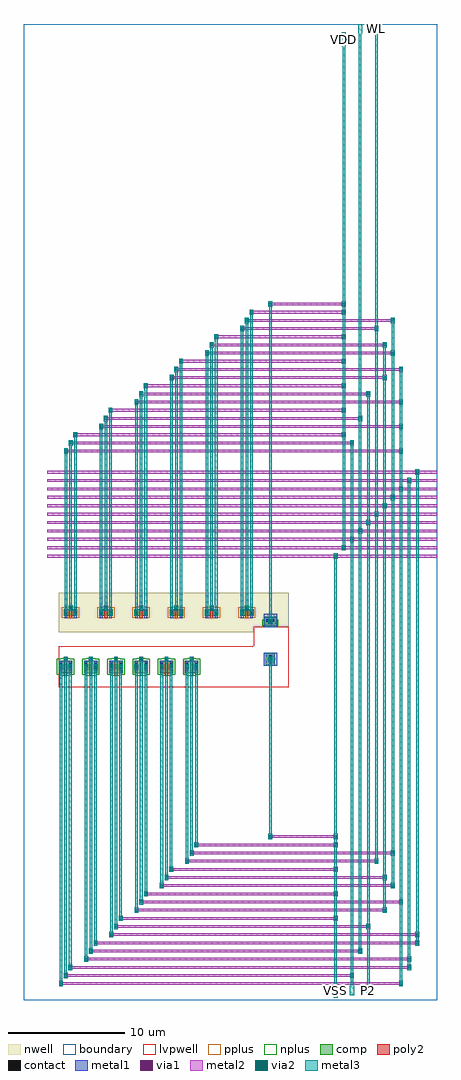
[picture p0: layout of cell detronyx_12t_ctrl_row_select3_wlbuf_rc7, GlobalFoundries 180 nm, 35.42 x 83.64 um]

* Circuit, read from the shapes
.subckt detronyx_12t_ctrl_row_select3_wlbuf_rc7 P0 P1 P2 VDD VSS WL
XM1 n1 P0 n2 VSS nfet_03v3 w=1.055u l=0.28u
XM2 n3 P1 n1 VSS nfet_03v3 w=1.055u l=0.28u
XM3 VSS P2 n3 VSS nfet_03v3 w=1.055u l=0.28u
XM4 VSS n2 n4 VSS nfet_03v3 w=1.055u l=0.28u
XM5 VSS n4 n5 VSS nfet_03v3 w=1.055u l=0.28u
XM6 VSS n5 WL VSS nfet_03v3 w=1.055u l=0.28u
XM7 VDD P0 n2 VDD pfet_03v3 w=0.56u l=0.2779u
XM8 VDD P1 n2 VDD pfet_03v3 w=0.56u l=0.2779u
XM9 VDD P2 n2 VDD pfet_03v3 w=0.56u l=0.2779u
XM10 VDD n2 n4 VDD pfet_03v3 w=0.56u l=0.2779u
XM11 VDD n4 n5 VDD pfet_03v3 w=0.56u l=0.2779u
XM12 VDD n5 WL VDD pfet_03v3 w=0.56u l=0.2779u
.ends

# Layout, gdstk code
import gdstk
lib = gdstk.Library(unit=1e-6, precision=1e-09)
def R(c, l, rs):  # rectangles x0, y0, x1, y1
    for r in rs: c.add(gdstk.rectangle(r[:2], r[2:], *l))
def A(c, l, x, y, w, h, nx, ny, dx, dy):  # array of equal rectangles
    R(c, l, [(x+i*dx, y+j*dy, x+i*dx+w, y+j*dy+h) for i in range(nx) for j in range(ny)])
boundary = (0, 0)
nwell = (21, 0)
comp = (22, 0)
poly2 = (30, 0)
pplus = (31, 0)
nplus = (32, 0)
contact = (33, 0)
metal1 = (34, 0)
via1 = (35, 0)
metal2 = (36, 0)
via2 = (38, 0)
metal3 = (42, 0)
lvpwell = (204, 0)

detronyx_12t_ctrl_row_se = lib.new_cell('detronyx_12t_ctrl_row_select3_wlbuf_rc7')
R(detronyx_12t_ctrl_row_se, boundary, [(0,0,35.42,83.635)])
R(detronyx_12t_ctrl_row_se, nwell, [(3,31.495,19.72,32), (3,32,22.72,34.915)])
A(detronyx_12t_ctrl_row_se, comp, 3, 28.02, 1.16, 1.055, 6, 1, 2.16, 0)
A(detronyx_12t_ctrl_row_se, comp, 3.43, 32.925, 1.16, 0.555, 6, 1, 3.02, 0)
R(detronyx_12t_ctrl_row_se, comp, [(20.745,28.675,21.495,29.725), (20.595,32.215,21.645,32.815), (3.43,33.48,3.895,33.485), (4.125,33.48,4.59,33.485), (6.45,33.48,6.915,33.485), (7.145,33.48,7.61,33.485), (9.47,33.48,9.935,33.485), (10.165,33.48,10.63,33.485), (12.49,33.48,12.955,33.485), (13.185,33.48,13.65,33.485), (15.51,33.48,15.975,33.485), (16.205,33.48,16.67,33.485), (18.53,33.48,18.995,33.485), (19.225,33.48,19.69,33.485)])
A(detronyx_12t_ctrl_row_se, poly2, 3.44, 27.8, 0.28, 1.55, 6, 1, 2.16, 0)
A(detronyx_12t_ctrl_row_se, poly2, 3.87, 32.705, 0.28, 1.04, 6, 1, 3.02, 0)
A(detronyx_12t_ctrl_row_se, pplus, 3.64, 32.695, 0.74, 0.07, 6, 2, 3.02, 0.95)
A(detronyx_12t_ctrl_row_se, pplus, 3.27, 32.765, 1.48, 0.88, 6, 1, 3.02, 0)
R(detronyx_12t_ctrl_row_se, pplus, [(20.725,28.655,21.515,29.745)])
A(detronyx_12t_ctrl_row_se, nplus, 3.21, 27.79, 0.74, 0.07, 6, 2, 2.16, 1.445)
A(detronyx_12t_ctrl_row_se, nplus, 2.84, 27.86, 1.48, 1.375, 6, 1, 2.16, 0)
R(detronyx_12t_ctrl_row_se, nplus, [(20.435,32.055,21.805,32.59), (20.575,32.59,21.665,32.835)])
A(detronyx_12t_ctrl_row_se, contact, 3.47, 29.09, 0.22, 0.22, 6, 1, 2.16, 0)
A(detronyx_12t_ctrl_row_se, contact, 3.9, 33.485, 0.22, 0.22, 6, 1, 3.02, 0)
R(detronyx_12t_ctrl_row_se, contact, [(3.07,28.2,3.29,28.42), (3.87,28.2,4.09,28.42), (5.23,28.2,5.45,28.42), (6.03,28.2,6.25,28.42), (7.39,28.2,7.61,28.42), (8.19,28.2,8.41,28.42), (9.55,28.2,9.77,28.42), (10.35,28.2,10.57,28.42), (11.71,28.2,11.93,28.42), (12.51,28.2,12.73,28.42), (13.87,28.2,14.09,28.42), (14.67,28.2,14.89,28.42), (3.07,28.67,3.29,28.89), (3.87,28.67,4.09,28.89), (5.23,28.67,5.45,28.89), (6.03,28.67,6.25,28.89), (7.39,28.67,7.61,28.89), (8.19,28.67,8.41,28.89), (9.55,28.67,9.77,28.89), (10.35,28.67,10.57,28.89), (11.71,28.67,11.93,28.89), (12.51,28.67,12.73,28.89), (13.87,28.67,14.09,28.89), (14.67,28.67,14.89,28.89), (21.01,28.855,21.23,29.075), (21.01,29.325,21.23,29.545), (20.775,32.405,20.995,32.625), (21.245,32.405,21.465,32.625), (3.5,33.095,3.72,33.315), (4.3,33.095,4.52,33.315), (6.52,33.095,6.74,33.315), (7.32,33.095,7.54,33.315), (9.54,33.095,9.76,33.315), (10.34,33.095,10.56,33.315), (12.56,33.095,12.78,33.315), (13.36,33.095,13.58,33.315), (15.58,33.095,15.8,33.315), (16.38,33.095,16.6,33.315), (18.6,33.095,18.82,33.315), (19.4,33.095,19.62,33.315)])
A(detronyx_12t_ctrl_row_se, metal1, 3.42, 28.97, 0.325, 0.46, 6, 1, 2.16, 0)
A(detronyx_12t_ctrl_row_se, metal1, 3.85, 33.365, 0.325, 0.46, 6, 1, 3.02, 0)
R(detronyx_12t_ctrl_row_se, metal1, [(3.065,28.02,3.295,28.315), (3.865,28.02,4.095,28.315), (5.225,28.02,5.455,28.315), (6.025,28.02,6.255,28.315), (7.385,28.02,7.615,28.315), (8.185,28.02,8.415,28.315), (9.545,28.02,9.775,28.315), (10.345,28.02,10.575,28.315), (11.705,28.02,11.935,28.315), (12.505,28.02,12.735,28.315), (13.865,28.02,14.095,28.315), (14.665,28.02,14.895,28.315), (3.02,28.315,3.345,28.775), (3.82,28.315,4.145,28.775), (5.18,28.315,5.505,28.775), (5.98,28.315,6.305,28.775), (7.34,28.315,7.665,28.775), (8.14,28.315,8.465,28.775), (9.5,28.315,9.825,28.775), (10.3,28.315,10.625,28.775), (11.66,28.315,11.985,28.775), (12.46,28.315,12.785,28.775), (13.82,28.315,14.145,28.775), (14.62,28.315,14.945,28.775), (20.545,28.625,21.695,29.775), (3.065,28.775,3.295,29.075), (3.865,28.775,4.095,29.075), (5.225,28.775,5.455,29.075), (6.025,28.775,6.255,29.075), (7.385,28.775,7.615,29.075), (8.185,28.775,8.415,29.075), (9.545,28.775,9.775,29.075), (10.345,28.775,10.575,29.075), (11.705,28.775,11.935,29.075), (12.505,28.775,12.735,29.075), (13.865,28.775,14.095,29.075), (14.665,28.775,14.895,29.075), (20.545,31.94,21.695,33.09), (3.495,32.73,3.725,32.975), (4.295,32.73,4.525,32.975), (6.515,32.73,6.745,32.975), (7.315,32.73,7.545,32.975), (9.535,32.73,9.765,32.975), (10.335,32.73,10.565,32.975), (12.555,32.73,12.785,32.975), (13.355,32.73,13.585,32.975), (15.575,32.73,15.805,32.975), (16.375,32.73,16.605,32.975), (18.595,32.73,18.825,32.975), (19.395,32.73,19.625,32.975), (3.45,32.975,3.775,33.435), (4.25,32.975,4.575,33.435), (6.47,32.975,6.795,33.435), (7.27,32.975,7.595,33.435), (9.49,32.975,9.815,33.435), (10.29,32.975,10.615,33.435), (12.51,32.975,12.835,33.435), (13.31,32.975,13.635,33.435), (15.53,32.975,15.855,33.435), (16.33,32.975,16.655,33.435), (18.55,32.975,18.875,33.435), (19.35,32.975,19.675,33.435), (3.495,33.435,3.725,33.68), (4.295,33.435,4.525,33.68), (6.515,33.435,6.745,33.68), (7.315,33.435,7.545,33.68), (9.535,33.435,9.765,33.68), (10.335,33.435,10.565,33.68), (12.555,33.435,12.785,33.68), (13.355,33.435,13.585,33.68), (15.575,33.435,15.805,33.68), (16.375,33.435,16.605,33.68), (18.595,33.435,18.825,33.68), (19.395,33.435,19.625,33.68)])
A(detronyx_12t_ctrl_row_se, via1, 3.45, 29.07, 0.26, 0.26, 6, 1, 2.16, 0)
A(detronyx_12t_ctrl_row_se, via1, 3.88, 33.465, 0.26, 0.26, 6, 1, 3.02, 0)
R(detronyx_12t_ctrl_row_se, via1, [(3.05,28.415,3.31,28.675), (3.85,28.415,4.11,28.675), (5.21,28.415,5.47,28.675), (6.01,28.415,6.27,28.675), (7.37,28.415,7.63,28.675), (8.17,28.415,8.43,28.675), (9.53,28.415,9.79,28.675), (10.33,28.415,10.59,28.675), (11.69,28.415,11.95,28.675), (12.49,28.415,12.75,28.675), (13.85,28.415,14.11,28.675), (14.65,28.415,14.91,28.675), (20.99,29.07,21.25,29.33), (20.99,32.385,21.25,32.645), (3.48,33.075,3.74,33.335), (4.28,33.075,4.54,33.335), (6.5,33.075,6.76,33.335), (7.3,33.075,7.56,33.335), (9.52,33.075,9.78,33.335), (10.32,33.075,10.58,33.335), (12.54,33.075,12.8,33.335), (13.34,33.075,13.6,33.335), (15.56,33.075,15.82,33.335), (16.36,33.075,16.62,33.335), (18.58,33.075,18.84,33.335), (19.38,33.075,19.64,33.335)])
A(detronyx_12t_ctrl_row_se, metal2, 3.42, 28.97, 0.325, 0.46, 6, 1, 2.16, 0)
A(detronyx_12t_ctrl_row_se, metal2, 3.85, 33.365, 0.325, 0.46, 6, 1, 3.02, 0)
A(detronyx_12t_ctrl_row_se, metal2, 2, 37.915, 33.42, 0.24, 1, 11, 0, 0.72)
R(detronyx_12t_ctrl_row_se, metal2, [(3.02,1.17,3.345,1.29), (32.16,1.17,32.485,1.29), (3.02,1.29,32.485,1.51), (3.02,1.51,3.345,1.63), (32.16,1.51,32.485,1.63), (3.42,1.87,3.745,1.99), (27.96,1.87,28.285,1.99), (3.42,1.99,28.285,2.21), (3.42,2.21,3.745,2.33), (27.96,2.21,28.285,2.33), (3.82,2.57,4.145,2.69), (32.86,2.57,33.185,2.69), (3.82,2.69,33.185,2.91), (3.82,2.91,4.145,3.03), (32.86,2.91,33.185,3.03), (5.18,3.27,5.505,3.39), (32.86,3.27,33.185,3.39), (5.18,3.39,33.185,3.61), (5.18,3.61,5.505,3.73), (32.86,3.61,33.185,3.73), (5.58,3.97,5.905,4.09), (28.66,3.97,28.985,4.09), (5.58,4.09,28.985,4.31), (5.58,4.31,5.905,4.43), (28.66,4.31,28.985,4.43), (5.98,4.67,6.305,4.79), (33.56,4.67,33.885,4.79), (5.98,4.79,33.885,5.01), (5.98,5.01,6.305,5.13), (33.56,5.01,33.885,5.13), (7.34,5.37,7.665,5.49), (33.56,5.37,33.885,5.49), (7.34,5.49,33.885,5.71), (7.34,5.71,7.665,5.83), (33.56,5.71,33.885,5.83), (7.74,6.07,8.065,6.19), (29.36,6.07,29.685,6.19), (7.74,6.19,29.685,6.41), (7.74,6.41,8.065,6.53), (29.36,6.41,29.685,6.53), (8.14,6.77,8.465,6.89), (26.56,6.77,26.885,6.89), (8.14,6.89,26.885,7.11), (8.14,7.11,8.465,7.23), (26.56,7.11,26.885,7.23), (9.5,7.47,9.825,7.59), (30.76,7.47,31.085,7.59), (9.5,7.59,31.085,7.81), (9.5,7.81,9.825,7.93), (30.76,7.81,31.085,7.93), (9.9,8.17,10.225,8.29), (32.16,8.17,32.485,8.29), (9.9,8.29,32.485,8.51), (9.9,8.51,10.225,8.63), (32.16,8.51,32.485,8.63), (10.3,8.87,10.625,8.99), (26.56,8.87,26.885,8.99), (10.3,8.99,26.885,9.21), (10.3,9.21,10.625,9.33), (26.56,9.21,26.885,9.33), (11.66,9.57,11.985,9.69), (31.46,9.57,31.785,9.69), (11.66,9.69,31.785,9.91), (11.66,9.91,11.985,10.03), (31.46,9.91,31.785,10.03), (12.06,10.27,12.385,10.39), (30.76,10.27,31.085,10.39), (12.06,10.39,31.085,10.61), (12.06,10.61,12.385,10.73), (30.76,10.61,31.085,10.73), (12.46,10.97,12.785,11.09), (26.56,10.97,26.885,11.09), (12.46,11.09,26.885,11.31), (12.46,11.31,12.785,11.43), (26.56,11.31,26.885,11.43), (13.82,11.67,14.145,11.79), (30.06,11.67,30.385,11.79), (13.82,11.79,30.385,12.01), (13.82,12.01,14.145,12.13), (30.06,12.01,30.385,12.13), (14.22,12.37,14.545,12.49), (31.46,12.37,31.785,12.49), (14.22,12.49,31.785,12.71), (14.22,12.71,14.545,12.83), (31.46,12.71,31.785,12.83), (14.62,13.07,14.945,13.19), (26.56,13.07,26.885,13.19), (14.62,13.19,26.885,13.41), (14.62,13.41,14.945,13.53), (26.56,13.41,26.885,13.53), (20.96,13.77,21.285,13.89), (26.56,13.77,26.885,13.89), (20.96,13.89,26.885,14.11), (20.96,14.11,21.285,14.23), (26.56,14.11,26.885,14.23), (3.02,28.315,3.345,28.775), (3.82,28.315,4.145,28.775), (5.18,28.315,5.505,28.775), (5.98,28.315,6.305,28.775), (7.34,28.315,7.665,28.775), (8.14,28.315,8.465,28.775), (9.5,28.315,9.825,28.775), (10.3,28.315,10.625,28.775), (11.66,28.315,11.985,28.775), (12.46,28.315,12.785,28.775), (13.82,28.315,14.145,28.775), (14.62,28.315,14.945,28.775), (20.96,28.97,21.285,29.43), (20.96,32.285,21.285,32.745), (3.45,32.975,3.775,33.435), (4.25,32.975,4.575,33.435), (6.47,32.975,6.795,33.435), (7.27,32.975,7.595,33.435), (9.49,32.975,9.815,33.435), (10.29,32.975,10.615,33.435), (12.51,32.975,12.835,33.435), (13.31,32.975,13.635,33.435), (15.53,32.975,15.855,33.435), (16.33,32.975,16.655,33.435), (18.55,32.975,18.875,33.435), (19.35,32.975,19.675,33.435), (26.56,37.805,26.885,37.915), (26.56,38.155,26.885,38.265), (27.26,38.525,27.585,38.635), (27.26,38.875,27.585,38.985), (27.96,39.245,28.285,39.355), (27.96,39.595,28.285,39.705), (28.66,39.965,28.985,40.075), (28.66,40.315,28.985,40.425), (29.36,40.685,29.685,40.795), (29.36,41.035,29.685,41.145), (30.06,41.405,30.385,41.515), (30.06,41.755,30.385,41.865), (30.76,42.125,31.085,42.235), (30.76,42.475,31.085,42.585), (31.46,42.845,31.785,42.955), (31.46,43.195,31.785,43.305), (32.16,43.565,32.485,43.675), (32.16,43.915,32.485,44.025), (32.86,44.285,33.185,44.395), (32.86,44.635,33.185,44.745), (33.56,45.005,33.885,45.115), (33.56,45.355,33.885,45.465), (3.45,46.805,3.775,46.925), (32.16,46.805,32.485,46.925), (3.45,46.925,32.485,47.145), (3.45,47.145,3.775,47.265), (32.16,47.145,32.485,47.265), (3.85,47.505,4.175,47.625), (27.96,47.505,28.285,47.625), (3.85,47.625,28.285,47.845), (3.85,47.845,4.175,47.965), (27.96,47.845,28.285,47.965), (4.25,48.205,4.575,48.325), (27.26,48.205,27.585,48.325), (4.25,48.325,27.585,48.545), (4.25,48.545,4.575,48.665), (27.26,48.545,27.585,48.665), (6.47,48.905,6.795,49.025), (32.16,48.905,32.485,49.025), (6.47,49.025,32.485,49.245), (6.47,49.245,6.795,49.365), (32.16,49.245,32.485,49.365), (6.87,49.605,7.195,49.725), (28.66,49.605,28.985,49.725), (6.87,49.725,28.985,49.945), (6.87,49.945,7.195,50.065), (28.66,49.945,28.985,50.065), (7.27,50.305,7.595,50.425), (27.26,50.305,27.585,50.425), (7.27,50.425,27.585,50.645), (7.27,50.645,7.595,50.765), (27.26,50.645,27.585,50.765), (9.49,51.005,9.815,51.125), (32.16,51.005,32.485,51.125), (9.49,51.125,32.485,51.345), (9.49,51.345,9.815,51.465), (32.16,51.345,32.485,51.465), (9.89,51.705,10.215,51.825), (29.36,51.705,29.685,51.825), (9.89,51.825,29.685,52.045), (9.89,52.045,10.215,52.165), (29.36,52.045,29.685,52.165), (10.29,52.405,10.615,52.525), (27.26,52.405,27.585,52.525), (10.29,52.525,27.585,52.745), (10.29,52.745,10.615,52.865), (27.26,52.745,27.585,52.865), (12.51,53.105,12.835,53.225), (30.76,53.105,31.085,53.225), (12.51,53.225,31.085,53.445), (12.51,53.445,12.835,53.565), (30.76,53.445,31.085,53.565), (12.91,53.805,13.235,53.925), (32.16,53.805,32.485,53.925), (12.91,53.925,32.485,54.145), (12.91,54.145,13.235,54.265), (32.16,54.145,32.485,54.265), (13.31,54.505,13.635,54.625), (27.26,54.505,27.585,54.625), (13.31,54.625,27.585,54.845), (13.31,54.845,13.635,54.965), (27.26,54.845,27.585,54.965), (15.53,55.205,15.855,55.325), (31.46,55.205,31.785,55.325), (15.53,55.325,31.785,55.545), (15.53,55.545,15.855,55.665), (31.46,55.545,31.785,55.665), (15.93,55.905,16.255,56.025), (30.76,55.905,31.085,56.025), (15.93,56.025,31.085,56.245), (15.93,56.245,16.255,56.365), (30.76,56.245,31.085,56.365), (16.33,56.605,16.655,56.725), (27.26,56.605,27.585,56.725), (16.33,56.725,27.585,56.945), (16.33,56.945,16.655,57.065), (27.26,56.945,27.585,57.065), (18.55,57.305,18.875,57.425), (30.06,57.305,30.385,57.425), (18.55,57.425,30.385,57.645), (18.55,57.645,18.875,57.765), (30.06,57.645,30.385,57.765), (18.95,58.005,19.275,58.125), (31.46,58.005,31.785,58.125), (18.95,58.125,31.785,58.345), (18.95,58.345,19.275,58.465), (31.46,58.345,31.785,58.465), (19.35,58.705,19.675,58.825), (27.26,58.705,27.585,58.825), (19.35,58.825,27.585,59.045), (19.35,59.045,19.675,59.165), (27.26,59.045,27.585,59.165), (20.96,59.405,21.285,59.525), (27.26,59.405,27.585,59.525), (20.96,59.525,27.585,59.745), (20.96,59.745,21.285,59.865), (27.26,59.745,27.585,59.865)])
A(detronyx_12t_ctrl_row_se, via2, 26.59, 6.87, 0.26, 0.26, 1, 4, 0, 2.1)
A(detronyx_12t_ctrl_row_se, via2, 3.45, 29.07, 0.26, 0.26, 6, 1, 2.16, 0)
A(detronyx_12t_ctrl_row_se, via2, 3.88, 33.465, 0.26, 0.26, 6, 1, 3.02, 0)
A(detronyx_12t_ctrl_row_se, via2, 32.19, 46.905, 0.26, 0.26, 1, 3, 0, 2.1)
A(detronyx_12t_ctrl_row_se, via2, 27.29, 48.305, 0.26, 0.26, 1, 6, 0, 2.1)
R(detronyx_12t_ctrl_row_se, via2, [(3.05,1.27,3.31,1.53), (32.19,1.27,32.45,1.53), (3.45,1.97,3.71,2.23), (27.99,1.97,28.25,2.23), (3.85,2.67,4.11,2.93), (32.89,2.67,33.15,2.93), (5.21,3.37,5.47,3.63), (32.89,3.37,33.15,3.63), (5.61,4.07,5.87,4.33), (28.69,4.07,28.95,4.33), (6.01,4.77,6.27,5.03), (33.59,4.77,33.85,5.03), (7.37,5.47,7.63,5.73), (33.59,5.47,33.85,5.73), (7.77,6.17,8.03,6.43), (29.39,6.17,29.65,6.43), (8.17,6.87,8.43,7.13), (9.53,7.57,9.79,7.83), (30.79,7.57,31.05,7.83), (9.93,8.27,10.19,8.53), (32.19,8.27,32.45,8.53), (10.33,8.97,10.59,9.23), (11.69,9.67,11.95,9.93), (31.49,9.67,31.75,9.93), (12.09,10.37,12.35,10.63), (30.79,10.37,31.05,10.63), (12.49,11.07,12.75,11.33), (13.85,11.77,14.11,12.03), (30.09,11.77,30.35,12.03), (14.25,12.47,14.51,12.73), (31.49,12.47,31.75,12.73), (14.65,13.17,14.91,13.43), (20.99,13.87,21.25,14.13), (26.59,13.87,26.85,14.13), (3.05,28.415,3.31,28.675), (3.85,28.415,4.11,28.675), (5.21,28.415,5.47,28.675), (6.01,28.415,6.27,28.675), (7.37,28.415,7.63,28.675), (8.17,28.415,8.43,28.675), (9.53,28.415,9.79,28.675), (10.33,28.415,10.59,28.675), (11.69,28.415,11.95,28.675), (12.49,28.415,12.75,28.675), (13.85,28.415,14.11,28.675), (14.65,28.415,14.91,28.675), (20.99,29.07,21.25,29.33), (20.99,32.385,21.25,32.645), (3.48,33.075,3.74,33.335), (4.28,33.075,4.54,33.335), (6.5,33.075,6.76,33.335), (7.3,33.075,7.56,33.335), (9.52,33.075,9.78,33.335), (10.32,33.075,10.58,33.335), (12.54,33.075,12.8,33.335), (13.34,33.075,13.6,33.335), (15.56,33.075,15.82,33.335), (16.36,33.075,16.62,33.335), (18.58,33.075,18.84,33.335), (19.38,33.075,19.64,33.335), (26.59,37.905,26.85,38.165), (27.29,38.625,27.55,38.885), (27.99,39.345,28.25,39.605), (28.69,40.065,28.95,40.325), (29.39,40.785,29.65,41.045), (30.09,41.505,30.35,41.765), (30.79,42.225,31.05,42.485), (31.49,42.945,31.75,43.205), (32.19,43.665,32.45,43.925), (32.89,44.385,33.15,44.645), (33.59,45.105,33.85,45.365), (3.48,46.905,3.74,47.165), (3.88,47.605,4.14,47.865), (27.99,47.605,28.25,47.865), (4.28,48.305,4.54,48.565), (6.5,49.005,6.76,49.265), (6.9,49.705,7.16,49.965), (28.69,49.705,28.95,49.965), (7.3,50.405,7.56,50.665), (9.52,51.105,9.78,51.365), (9.92,51.805,10.18,52.065), (29.39,51.805,29.65,52.065), (10.32,52.505,10.58,52.765), (12.54,53.205,12.8,53.465), (30.79,53.205,31.05,53.465), (12.94,53.905,13.2,54.165), (32.19,53.905,32.45,54.165), (13.34,54.605,13.6,54.865), (15.56,55.305,15.82,55.565), (31.49,55.305,31.75,55.565), (15.96,56.005,16.22,56.265), (30.79,56.005,31.05,56.265), (16.36,56.705,16.62,56.965), (18.58,57.405,18.84,57.665), (30.09,57.405,30.35,57.665), (18.98,58.105,19.24,58.365), (31.49,58.105,31.75,58.365), (19.38,58.805,19.64,59.065), (20.99,59.505,21.25,59.765), (27.29,59.505,27.55,59.765)])
A(detronyx_12t_ctrl_row_se, metal3, 26.56, 6.77, 0.325, 0.46, 1, 4, 0, 2.1)
A(detronyx_12t_ctrl_row_se, metal3, 26.61, 7.23, 0.22, 1.64, 1, 3, 0, 2.1)
A(detronyx_12t_ctrl_row_se, metal3, 3.42, 28.97, 0.325, 0.46, 6, 1, 2.16, 0)
A(detronyx_12t_ctrl_row_se, metal3, 3.85, 33.365, 0.325, 0.46, 6, 1, 3.02, 0)
A(detronyx_12t_ctrl_row_se, metal3, 32.16, 46.805, 0.325, 0.46, 1, 3, 0, 2.1)
A(detronyx_12t_ctrl_row_se, metal3, 27.26, 48.205, 0.325, 0.46, 1, 6, 0, 2.1)
A(detronyx_12t_ctrl_row_se, metal3, 27.31, 48.665, 0.22, 1.64, 1, 5, 0, 2.1)
R(detronyx_12t_ctrl_row_se, metal3, [(26.54,0.2,26.9,1.4), (27.94,0.4,28.3,1.2), (29.34,0.4,29.7,1.2), (3.02,1.17,3.345,1.63), (32.16,1.17,32.485,1.63), (28.01,1.2,28.23,1.87), (29.41,1.2,29.63,6.07), (26.61,1.4,26.83,6.77), (3.07,1.63,3.29,28.315), (32.21,1.63,32.43,8.17), (3.42,1.87,3.745,2.33), (27.96,1.87,28.285,2.33), (3.47,2.33,3.69,28.97), (28.01,2.33,28.23,39.245), (3.82,2.57,4.145,3.03), (32.86,2.57,33.185,3.03), (3.87,3.03,4.09,28.315), (32.91,3.03,33.13,3.27), (5.18,3.27,5.505,3.73), (32.86,3.27,33.185,3.73), (5.23,3.73,5.45,28.315), (32.91,3.73,33.13,44.285), (5.58,3.97,5.905,4.43), (28.66,3.97,28.985,4.43), (5.63,4.43,5.85,28.97), (28.71,4.43,28.93,39.965), (5.98,4.67,6.305,5.13), (33.56,4.67,33.885,5.13), (6.03,5.13,6.25,28.315), (33.61,5.13,33.83,5.37), (7.34,5.37,7.665,5.83), (33.56,5.37,33.885,5.83), (7.39,5.83,7.61,28.315), (33.61,5.83,33.83,45.005), (7.74,6.07,8.065,6.53), (29.36,6.07,29.685,6.53), (7.79,6.53,8.01,28.97), (29.41,6.53,29.63,40.685), (8.14,6.77,8.465,7.23), (8.19,7.23,8.41,28.315), (9.5,7.47,9.825,7.93), (30.76,7.47,31.085,7.93), (9.55,7.93,9.77,28.315), (30.81,7.93,31.03,10.27), (9.9,8.17,10.225,8.63), (32.16,8.17,32.485,8.63), (9.95,8.63,10.17,28.97), (32.21,8.63,32.43,43.565), (10.3,8.87,10.625,9.33), (10.35,9.33,10.57,28.315), (11.66,9.57,11.985,10.03), (31.46,9.57,31.785,10.03), (11.71,10.03,11.93,28.315), (31.51,10.03,31.73,12.37), (12.06,10.27,12.385,10.73), (30.76,10.27,31.085,10.73), (12.11,10.73,12.33,28.97), (30.81,10.73,31.03,42.125), (12.46,10.97,12.785,11.43), (12.51,11.43,12.73,28.315), (13.82,11.67,14.145,12.13), (30.06,11.67,30.385,12.13), (13.87,12.13,14.09,28.315), (30.11,12.13,30.33,41.405), (14.22,12.37,14.545,12.83), (31.46,12.37,31.785,12.83), (14.27,12.83,14.49,28.97), (31.51,12.83,31.73,42.845), (14.62,13.07,14.945,13.53), (14.67,13.53,14.89,28.315), (26.61,13.53,26.83,13.77), (20.96,13.77,21.285,14.23), (26.56,13.77,26.885,14.23), (21.01,14.23,21.23,28.97), (26.61,14.23,26.83,37.805), (3.02,28.315,3.345,28.775), (3.82,28.315,4.145,28.775), (5.18,28.315,5.505,28.775), (5.98,28.315,6.305,28.775), (7.34,28.315,7.665,28.775), (8.14,28.315,8.465,28.775), (9.5,28.315,9.825,28.775), (10.3,28.315,10.625,28.775), (11.66,28.315,11.985,28.775), (12.46,28.315,12.785,28.775), (13.82,28.315,14.145,28.775), (14.62,28.315,14.945,28.775), (20.96,28.97,21.285,29.43), (20.96,32.285,21.285,32.745), (21.01,32.745,21.23,59.405), (3.45,32.975,3.775,33.435), (4.25,32.975,4.575,33.435), (6.47,32.975,6.795,33.435), (7.27,32.975,7.595,33.435), (9.49,32.975,9.815,33.435), (10.29,32.975,10.615,33.435), (12.51,32.975,12.835,33.435), (13.31,32.975,13.635,33.435), (15.53,32.975,15.855,33.435), (16.33,32.975,16.655,33.435), (18.55,32.975,18.875,33.435), (19.35,32.975,19.675,33.435), (3.5,33.435,3.72,46.805), (4.3,33.435,4.52,48.205), (6.52,33.435,6.74,48.905), (7.32,33.435,7.54,50.305), (9.54,33.435,9.76,51.005), (10.34,33.435,10.56,52.405), (12.56,33.435,12.78,53.105), (13.36,33.435,13.58,54.505), (15.58,33.435,15.8,55.205), (16.38,33.435,16.6,56.605), (18.6,33.435,18.82,57.305), (19.4,33.435,19.62,58.705), (3.9,33.825,4.12,47.505), (6.92,33.825,7.14,49.605), (9.94,33.825,10.16,51.705), (12.96,33.825,13.18,53.805), (15.98,33.825,16.2,55.905), (19,33.825,19.22,58.005), (26.56,37.805,26.885,38.265), (27.26,38.525,27.585,38.985), (27.31,38.985,27.53,48.205), (27.96,39.245,28.285,39.705), (28.01,39.705,28.23,47.505), (28.66,39.965,28.985,40.425), (28.71,40.425,28.93,49.605), (29.36,40.685,29.685,41.145), (29.41,41.145,29.63,51.705), (30.06,41.405,30.385,41.865), (30.11,41.865,30.33,57.305), (30.76,42.125,31.085,42.585), (30.81,42.585,31.03,53.105), (31.46,42.845,31.785,43.305), (31.51,43.305,31.73,55.205), (32.16,43.565,32.485,44.025), (32.21,44.025,32.43,46.805), (32.86,44.285,33.185,44.745), (33.56,45.005,33.885,45.465), (3.45,46.805,3.775,47.265), (32.21,47.265,32.43,48.905), (3.85,47.505,4.175,47.965), (27.96,47.505,28.285,47.965), (4.25,48.205,4.575,48.665), (6.47,48.905,6.795,49.365), (32.21,49.365,32.43,51.005), (6.87,49.605,7.195,50.065), (28.66,49.605,28.985,50.065), (28.71,50.065,28.93,82.835), (7.27,50.305,7.595,50.765), (9.49,51.005,9.815,51.465), (32.21,51.465,32.43,53.805), (9.89,51.705,10.215,52.165), (29.36,51.705,29.685,52.165), (10.29,52.405,10.615,52.865), (12.51,53.105,12.835,53.565), (30.76,53.105,31.085,53.565), (30.81,53.565,31.03,55.905), (12.91,53.805,13.235,54.265), (32.16,53.805,32.485,54.265), (13.31,54.505,13.635,54.965), (15.53,55.205,15.855,55.665), (31.46,55.205,31.785,55.665), (31.51,55.665,31.73,58.005), (15.93,55.905,16.255,56.365), (30.76,55.905,31.085,56.365), (16.33,56.605,16.655,57.065), (18.55,57.305,18.875,57.765), (30.06,57.305,30.385,57.765), (30.11,57.765,30.33,82.835), (18.95,58.005,19.275,58.465), (31.46,58.005,31.785,58.465), (19.35,58.705,19.675,59.165), (27.31,59.165,27.53,59.405), (20.96,59.405,21.285,59.865), (27.26,59.405,27.585,59.865), (27.31,59.865,27.53,81.735), (27.24,81.735,27.6,82.935), (28.64,82.835,29,83.635), (30.04,82.835,30.4,83.635)])
R(detronyx_12t_ctrl_row_se, lvpwell, [(3,26.8,22.72,30.295), (19.72,30.295,22.72,32)])
detronyx_12t_ctrl_row_se.add(gdstk.Label('VDD', (27.42,82.335), layer=42, texttype=10))
detronyx_12t_ctrl_row_se.add(gdstk.Label('VSS', (26.72,0.8), layer=42, texttype=10))
detronyx_12t_ctrl_row_se.add(gdstk.Label('P0', (28.12,0.8), layer=42, texttype=10))
detronyx_12t_ctrl_row_se.add(gdstk.Label('P1', (28.82,83.235), layer=42, texttype=10))
detronyx_12t_ctrl_row_se.add(gdstk.Label('P2', (29.52,0.8), layer=42, texttype=10))
detronyx_12t_ctrl_row_se.add(gdstk.Label('WL', (30.22,83.235), layer=42, texttype=10))

lib.write_gds('detronyx_12t_ctrl_row_select3_wlbuf_rc7.gds')
